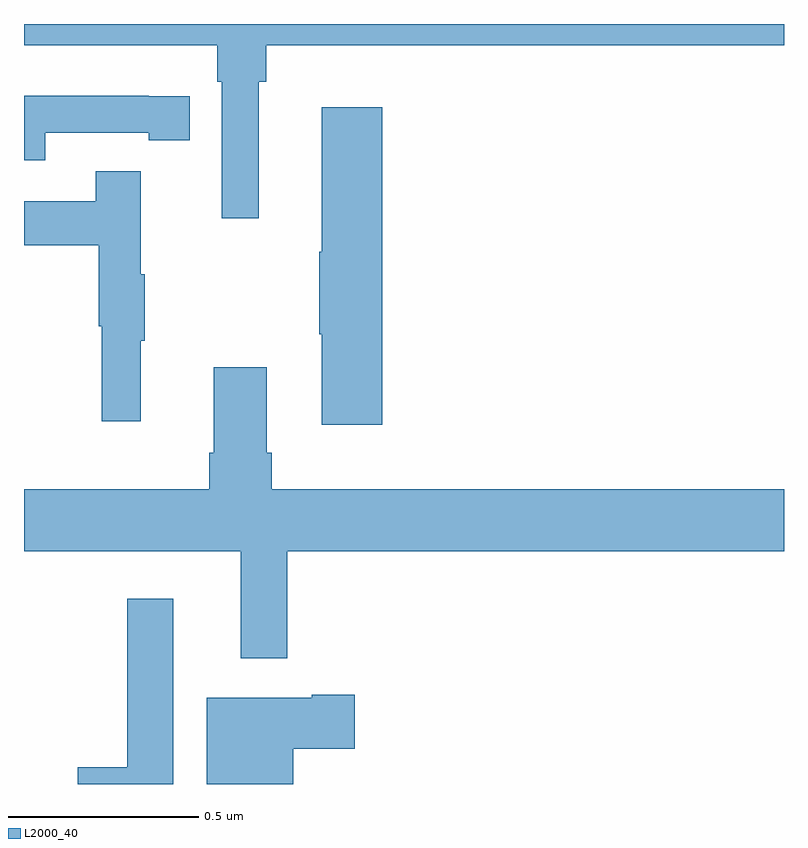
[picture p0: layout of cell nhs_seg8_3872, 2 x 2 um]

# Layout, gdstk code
import gdstk
lib = gdstk.Library(unit=1e-6, precision=1e-09)
def P(c, l, *ps):  # polygons
    for p in ps: c.add(gdstk.Polygon(p, *l))
L2000_40 = (2000, 40)

nhs_seg8_3872 = lib.new_cell('nhs_seg8_3872')
P(nhs_seg8_3872, L2000_40, [(163.618,1105.748),(163.637,1105.748),(163.637,1105.844),(165,1105.844),(165,1105.9),(163,1105.9),(163,1105.844),(163.508,1105.844),(163.508,1105.748),(163.521,1105.748),(163.521,1105.389),(163.618,1105.389)],
  [(163.056,1105.614),(163.328,1105.614),(163.328,1105.594),(163.436,1105.594),(163.436,1105.71),(163.328,1105.71),(163.328,1105.711),(163,1105.711),(163,1105.542),(163.056,1105.542)],
  [(163.943,1105.681),(163.784,1105.681),(163.784,1105.301),(163.777,1105.301),(163.777,1105.084),(163.784,1105.084),(163.784,1104.846),(163.943,1104.846)],
  [(163.307,1105.067),(163.318,1105.067),(163.318,1105.241),(163.307,1105.241),(163.307,1105.513),(163.189,1105.513),(163.189,1105.434),(163,1105.434),(163,1105.318),(163.197,1105.318),(163.197,1105.104),(163.204,1105.104),(163.204,1104.855),(163.307,1104.855)],
  [(163.693,1104.512),(165,1104.512),(165,1104.676),(163.652,1104.676),(163.652,1104.772),(163.639,1104.772),(163.639,1104.997),(163.499,1104.997),(163.499,1104.772),(163.487,1104.772),(163.487,1104.676),(163,1104.676),(163,1104.512),(163.571,1104.512),(163.571,1104.231),(163.693,1104.231)],
  [(163.393,1104.388),(163.272,1104.388),(163.272,1103.944),(163.142,1103.944),(163.142,1103.9),(163.393,1103.9)],
  [(163.708,1103.993),(163.87,1103.993),(163.87,1104.135),(163.757,1104.135),(163.757,1104.127),(163.481,1104.127),(163.481,1103.9),(163.708,1103.9)])

lib.write_gds('nhs_seg8_3872.gds')
